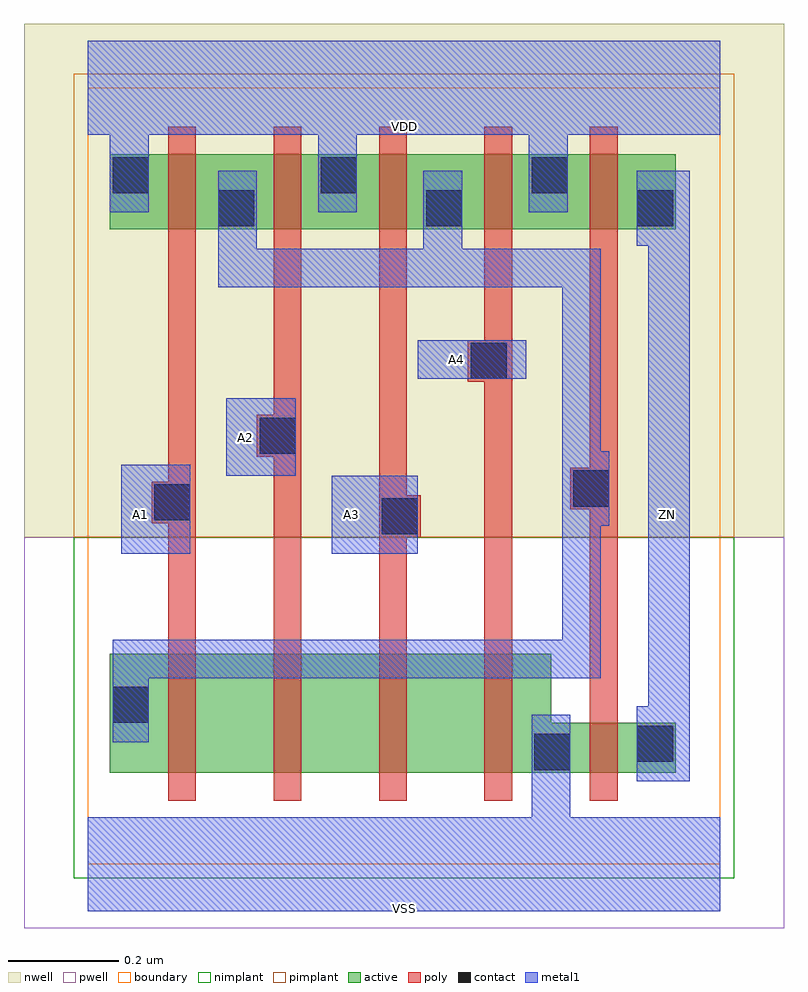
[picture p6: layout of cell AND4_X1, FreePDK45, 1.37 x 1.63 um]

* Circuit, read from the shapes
.subckt AND4_X1 A1 A2 A3 A4 VDD VSS ZN
M1 n1 A1 n2 VSUBS nfet w=0.215u l=0.05u
M2 n3 A2 n1 VSUBS nfet w=0.215u l=0.05u
M3 n4 A3 n3 VSUBS nfet w=0.215u l=0.05u
M4 VSS A4 n4 VSUBS nfet w=0.215u l=0.05u
M5 ZN n2 VSS VSUBS nfet w=0.09u l=0.05u
M6 n2 A1 VDD n5 pfet w=0.135u l=0.05u
M7 VDD A2 n2 n5 pfet w=0.135u l=0.05u
M8 n2 A3 VDD n5 pfet w=0.135u l=0.05u
M9 VDD A4 n2 n5 pfet w=0.135u l=0.05u
M10 ZN n2 VDD n5 pfet w=0.135u l=0.05u
.ends

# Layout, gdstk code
import gdstk
lib = gdstk.Library(unit=1e-6, precision=1e-10)
def R(c, l, rs):  # rectangles x0, y0, x1, y1
    for r in rs: c.add(gdstk.rectangle(r[:2], r[2:], *l))
def P(c, l, *ps):  # polygons
    for p in ps: c.add(gdstk.Polygon(p, *l))
active = (1, 0)
pwell = (2, 0)
nwell = (3, 0)
nimplant = (4, 0)
pimplant = (5, 0)
poly = (9, 0)
contact = (10, 0)
metal1 = (11, 0)
boundary = (235, 0)

and4_x1 = lib.new_cell('AND4_X1')
R(and4_x1, active, [(0.04,1.145,1.06,1.28)])
P(and4_x1, active, [(0.04,0.165),(1.06,0.165),(1.06,0.255),(0.835,0.255),(0.835,0.38),(0.04,0.38)])
R(and4_x1, pwell, [(-0.115,-0.115,1.255,0.59)])
R(and4_x1, nwell, [(-0.115,0.59,1.255,1.515)])
R(and4_x1, nimplant, [(-0.025,-0.025,1.165,0.59)])
R(and4_x1, pimplant, [(-0.025,0.59,1.165,1.425)])
P(and4_x1, poly, [(0.115,0.615),(0.145,0.615),(0.145,0.115),(0.195,0.115),(0.195,1.33),(0.145,1.33),(0.145,0.69),(0.115,0.69)],
  [(0.305,0.735),(0.335,0.735),(0.335,0.115),(0.385,0.115),(0.385,1.33),(0.335,1.33),(0.335,0.81),(0.305,0.81)],
  [(0.525,0.115),(0.575,0.115),(0.575,0.59),(0.6,0.59),(0.6,0.665),(0.575,0.665),(0.575,1.33),(0.525,1.33)],
  [(0.685,0.87),(0.715,0.87),(0.715,0.115),(0.765,0.115),(0.765,1.33),(0.715,1.33),(0.715,0.945),(0.685,0.945)],
  [(0.87,0.64),(0.905,0.64),(0.905,0.115),(0.955,0.115),(0.955,1.33),(0.905,1.33),(0.905,0.715),(0.87,0.715)])
R(and4_x1, contact, [(0.805,0.17,0.87,0.235), (0.99,0.185,1.055,0.25), (0.045,0.255,0.11,0.32), (0.53,0.595,0.595,0.66), (0.12,0.62,0.185,0.685), (0.875,0.645,0.94,0.71), (0.31,0.74,0.375,0.805), (0.69,0.875,0.755,0.94), (0.235,1.15,0.3,1.215), (0.61,1.15,0.675,1.215), (0.99,1.15,1.055,1.215), (0.045,1.21,0.11,1.275), (0.42,1.21,0.485,1.275), (0.8,1.21,0.865,1.275)])
R(and4_x1, metal1, [(0.06,0.56,0.185,0.72), (0.44,0.56,0.595,0.7), (0.25,0.7,0.375,0.84), (0.595,0.875,0.79,0.945)])
P(and4_x1, metal1, [(0.235,1.04),(0.855,1.04),(0.855,0.405),(0.045,0.405),(0.045,0.22),(0.11,0.22),(0.11,0.335),(0.925,0.335),(0.925,0.61),(0.94,0.61),(0.94,0.745),(0.925,0.745),(0.925,1.11),(0.675,1.11),(0.675,1.25),(0.605,1.25),(0.605,1.11),(0.305,1.11),(0.305,1.25),(0.235,1.25)],
  [(0.99,1.115),(1.01,1.115),(1.01,0.285),(0.99,0.285),(0.99,0.15),(1.085,0.15),(1.085,1.25),(0.99,1.25)],
  [(0,-0.085),(1.14,-0.085),(1.14,0.085),(0.87,0.085),(0.87,0.27),(0.8,0.27),(0.8,0.085),(0,0.085)],
  [(0,1.315),(0.04,1.315),(0.04,1.175),(0.11,1.175),(0.11,1.315),(0.415,1.315),(0.415,1.175),(0.485,1.175),(0.485,1.315),(0.795,1.315),(0.795,1.175),(0.865,1.175),(0.865,1.315),(1.14,1.315),(1.14,1.485),(0,1.485)])
R(and4_x1, boundary, [(0,0,1.14,1.4)])
and4_x1.add(gdstk.Label('A1', (0.095,0.63), layer=11, texttype=0))
and4_x1.add(gdstk.Label('A2', (0.285,0.77), layer=11, texttype=0))
and4_x1.add(gdstk.Label('A3', (0.475,0.63), layer=11, texttype=0))
and4_x1.add(gdstk.Label('A4', (0.665,0.91), layer=11, texttype=0))
and4_x1.add(gdstk.Label('VDD', (0.57,1.33), layer=11, texttype=0))
and4_x1.add(gdstk.Label('VSS', (0.57,-0.08), layer=11, texttype=0))
and4_x1.add(gdstk.Label('ZN', (1.045,0.63), layer=11, texttype=0))

lib.write_gds('AND4_X1.gds')
